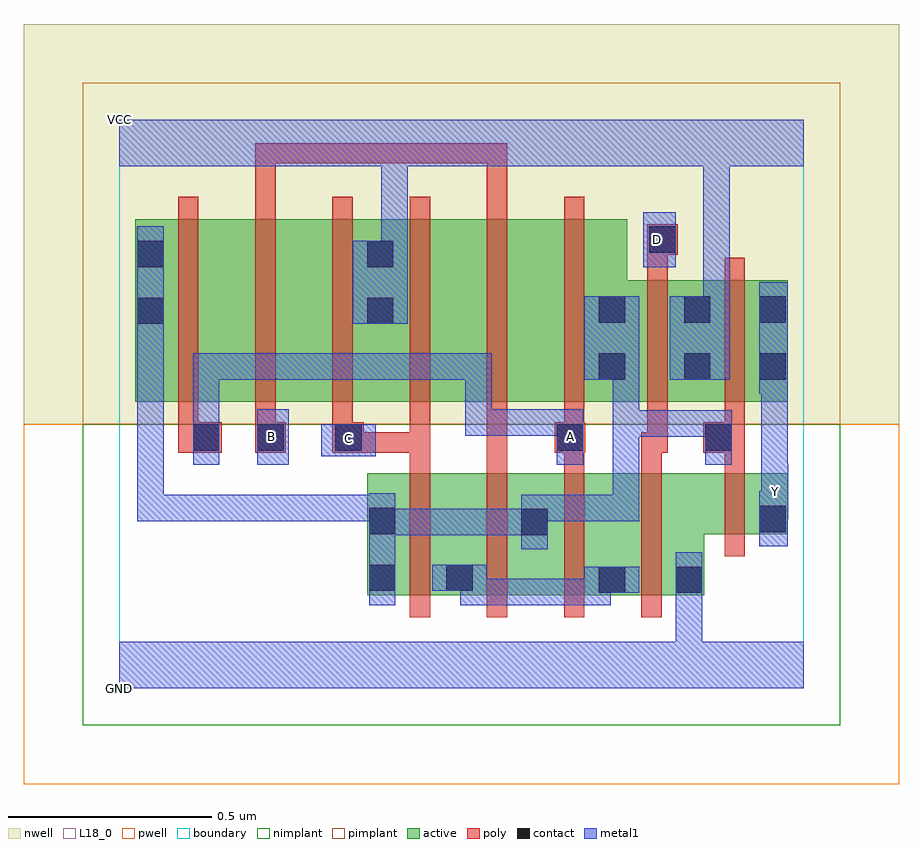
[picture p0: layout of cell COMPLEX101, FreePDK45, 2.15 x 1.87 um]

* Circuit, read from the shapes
.subckt COMPLEX101 A B C D GND VCC Y
M1 n1 C n2 VSUBS nfet w=0.3u l=0.05u
M2 n2 B n1 VSUBS nfet w=0.3u l=0.05u
M3 n1 A n2 VSUBS nfet w=0.3u l=0.05u
M4 GND D n1 VSUBS nfet w=0.3u l=0.05u
M5 Y n2 GND VSUBS nfet w=0.15u l=0.05u
M6 n3 A n2 n4 pfet w=0.45u l=0.05u
M7 n5 B n3 n4 pfet w=0.45u l=0.05u
M8 VCC C n5 n4 pfet w=0.45u l=0.05u
M9 n6 C VCC n4 pfet w=0.45u l=0.05u
M10 n7 B n6 n4 pfet w=0.45u l=0.05u
M11 n2 A n7 n4 pfet w=0.45u l=0.05u
M12 VCC D n2 n4 pfet w=0.3u l=0.05u
M13 Y n2 VCC n4 pfet w=0.3u l=0.05u
.ends

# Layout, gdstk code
import gdstk
lib = gdstk.Library(unit=1e-6, precision=1e-09)
def R(c, l, rs):  # rectangles x0, y0, x1, y1
    for r in rs: c.add(gdstk.rectangle(r[:2], r[2:], *l))
def A(c, l, x, y, w, h, nx, ny, dx, dy):  # array of equal rectangles
    R(c, l, [(x+i*dx, y+j*dy, x+i*dx+w, y+j*dy+h) for i in range(nx) for j in range(ny)])
active = (1, 0)
pwell = (2, 0)
nwell = (3, 0)
nimplant = (4, 0)
pimplant = (5, 0)
poly = (9, 0)
contact = (10, 0)
metal1 = (11, 0)
L18_0 = (18, 0)
boundary = (235, 0)

complex101 = lib.new_cell('COMPLEX101')
R(complex101, active, [(0.61,0.23,0.875,0.53), (0.8,0.23,1.06,0.53), (0.985,0.23,1.25,0.53), (1.175,0.23,1.44,0.53), (1.175,0.23,1.25,0.43), (1.365,0.23,1.44,0.53), (0.61,0.235,0.685,0.53), (0.8,0.235,0.875,0.392), (0.985,0.295,1.06,0.447), (1.365,0.38,1.645,0.53), (1.57,0.38,1.645,0.53), (0.04,0.705,0.265,1.155), (0.04,0.705,0.115,1.155), (0.265,0.705,0.455,1.155), (0.455,0.705,0.68,1.155), (0.605,0.705,0.835,1.155), (0.605,0.705,0.68,1.155), (0.835,0.705,1.025,1.155), (1.025,0.705,1.25,1.155), (1.175,0.705,1.46,1.005), (1.385,0.705,1.46,1.005), (1.385,0.705,1.645,1.005), (1.57,0.705,1.645,1.005), (1.175,0.74,1.25,1.12)])
R(complex101, pwell, [(-0.235,-0.235,1.92,0.65)])
R(complex101, nwell, [(-0.235,0.65,1.92,1.635)])
R(complex101, nimplant, [(-0.09,-0.09,1.775,0.65)])
R(complex101, pimplant, [(-0.09,0.65,1.775,1.49)])
A(complex101, poly, 0.715, 0.175, 0.05, 0.41, 4, 1, 0.19, 0)
A(complex101, poly, 0.715, 0.535, 0.05, 0.095, 4, 1, 0.19, 0)
A(complex101, poly, 0.145, 0.605, 0.05, 0.095, 3, 1, 0.19, 0)
A(complex101, poly, 0.145, 0.65, 0.05, 0.56, 6, 1, 0.19, 0)
R(complex101, poly, [(1.49,0.325,1.54,0.585), (1.49,0.535,1.54,0.63), (0.145,0.58,0.252,0.655), (0.335,0.58,0.41,0.655), (0.525,0.58,0.602,0.655), (0.552,0.58,0.602,0.63), (0.552,0.58,0.602,0.63), (0.552,0.58,0.765,0.63), (0.715,0.58,0.765,0.7), (0.715,0.58,0.765,0.63), (0.905,0.58,0.955,0.7), (0.905,0.58,0.955,0.63), (1.072,0.58,1.147,0.655), (1.285,0.58,1.35,0.63), (1.3,0.58,1.35,0.7), (1.437,0.58,1.54,0.655), (1.095,0.605,1.145,0.7), (1.49,0.605,1.54,0.7), (1.3,0.65,1.35,1.06), (1.49,0.65,1.54,1.06), (1.3,1.01,1.35,1.117), (1.3,1.067,1.375,1.142), (0.335,1.16,0.385,1.342), (0.905,1.16,0.955,1.342), (0.335,1.292,0.385,1.342), (0.335,1.292,0.385,1.342), (0.335,1.292,0.385,1.342), (0.335,1.292,0.602,1.342), (0.552,1.292,0.602,1.342), (0.552,1.292,0.735,1.342), (0.685,1.292,0.735,1.342), (0.685,1.292,0.735,1.342), (0.685,1.292,0.735,1.342), (0.685,1.292,0.955,1.342), (0.905,1.292,0.955,1.342), (0.905,1.292,0.955,1.342), (0.905,1.292,0.955,1.342)])
R(complex101, contact, [(1.18,0.235,1.245,0.3), (1.37,0.235,1.435,0.3), (0.615,0.24,0.68,0.305), (0.805,0.24,0.87,0.305), (0.99,0.377,1.055,0.442), (0.615,0.38,0.68,0.445), (1.575,0.385,1.64,0.45), (0.182,0.585,0.247,0.65), (0.34,0.585,0.405,0.65), (0.532,0.585,0.597,0.65), (1.077,0.585,1.142,0.65), (1.442,0.585,1.507,0.65), (1.18,0.76,1.245,0.825), (1.39,0.76,1.455,0.825), (1.575,0.76,1.64,0.825), (0.045,0.897,0.11,0.962), (0.61,0.897,0.675,0.962), (1.18,0.9,1.245,0.965), (1.39,0.9,1.455,0.965), (1.575,0.9,1.64,0.965), (0.045,1.037,0.11,1.102), (0.61,1.037,0.675,1.102), (1.305,1.072,1.37,1.137)])
R(complex101, metal1, [(0,0,1.685,0.115), (1.37,0.05,1.435,0.115), (1.37,0.05,1.435,0.115), (1.37,0.05,1.435,0.265), (1.37,0.2,1.435,0.265), (1.37,0.2,1.435,0.265), (1.37,0.2,1.435,0.335), (0.615,0.205,0.68,0.48), (0.84,0.205,1.072,0.27), (0.84,0.205,0.905,0.305), (1.007,0.205,1.072,0.27), (1.007,0.205,1.21,0.27), (1.145,0.205,1.21,0.3), (1.145,0.235,1.21,0.3), (1.145,0.235,1.28,0.3), (0.77,0.24,0.905,0.305), (0.84,0.24,0.905,0.305), (0.99,0.342,1.055,0.477), (1.575,0.35,1.645,0.485), (0.615,0.377,0.767,0.442), (0.702,0.377,0.767,0.442), (0.702,0.377,0.917,0.442), (0.852,0.377,0.917,0.442), (0.852,0.377,0.917,0.442), (0.852,0.377,0.917,0.442), (0.852,0.377,1.055,0.442), (0.045,0.412,0.11,0.477), (0.045,0.412,0.11,0.477), (0.045,0.412,0.11,0.477), (0.045,0.412,0.11,0.477), (0.045,0.412,0.11,0.477), (0.045,0.412,0.282,0.477), (0.045,0.412,0.11,0.927), (0.217,0.412,0.282,0.477), (0.217,0.412,0.385,0.477), (0.32,0.412,0.385,0.477), (0.32,0.412,0.492,0.477), (0.427,0.412,0.492,0.477), (0.427,0.412,0.63,0.477), (0.565,0.412,0.63,0.477), (0.565,0.412,0.68,0.477), (0.99,0.412,1.055,0.477), (0.99,0.412,1.055,0.477), (0.99,0.412,1.28,0.477), (1.215,0.412,1.28,0.477), (1.215,0.412,1.28,0.685), (1.58,0.417,1.647,0.552), (1.58,0.42,1.645,0.485), (1.58,0.487,1.645,0.79), (0.182,0.55,0.247,0.685), (0.34,0.55,0.417,0.687), (1.077,0.55,1.142,0.687), (1.442,0.55,1.507,0.685), (0.497,0.572,0.632,0.65), (0.182,0.62,0.247,0.685), (0.182,0.62,0.247,0.685), (0.182,0.62,0.247,0.825), (1.215,0.62,1.28,0.685), (1.215,0.62,1.347,0.685), (1.215,0.62,1.28,0.825), (1.282,0.62,1.347,0.685), (1.282,0.62,1.417,0.685), (1.352,0.62,1.417,0.685), (1.352,0.62,1.507,0.685), (0.852,0.622,0.917,0.687), (0.852,0.622,0.917,0.687), (0.852,0.622,0.917,0.687), (0.852,0.622,1.072,0.687), (0.852,0.622,0.917,0.825), (1.007,0.622,1.072,0.687), (1.007,0.622,1.142,0.687), (1.575,0.725,1.645,1), (0.182,0.76,0.247,0.825), (0.182,0.76,0.425,0.825), (0.36,0.76,0.425,0.825), (0.36,0.76,0.425,0.825), (0.36,0.76,0.425,0.825), (0.36,0.76,0.63,0.825), (0.565,0.76,0.63,0.825), (0.565,0.76,0.63,0.825), (0.565,0.76,0.63,0.825), (0.565,0.76,0.767,0.825), (0.702,0.76,0.767,0.825), (0.702,0.76,0.917,0.825), (0.852,0.76,0.917,0.825), (1.145,0.76,1.28,0.965), (1.355,0.76,1.502,0.965), (0.045,0.862,0.11,1.137), (0.575,0.897,0.71,1.102), (1.437,0.9,1.502,1.35), (0.645,1.037,0.71,1.102), (0.645,1.037,0.71,1.102), (0.645,1.037,0.71,1.35), (1.29,1.037,1.37,1.172), (0,1.285,1.685,1.4), (1.437,1.285,1.502,1.35), (1.437,1.285,1.502,1.35), (1.437,1.285,1.502,1.35), (1.437,1.285,1.502,1.35)])
R(complex101, L18_0, [(0,0,1.685,0.115), (1.37,0.05,1.435,0.115), (1.37,0.05,1.435,0.115), (1.37,0.05,1.435,0.265), (1.37,0.2,1.435,0.335), (1.37,0.2,1.435,0.265), (1.37,0.2,1.435,0.265), (1.575,0.35,1.645,0.485), (1.58,0.417,1.647,0.552), (1.58,0.42,1.645,0.485), (1.582,0.452,1.647,0.517), (1.58,0.487,1.645,0.79), (0.182,0.55,0.247,0.685), (0.34,0.55,0.417,0.687), (1.077,0.55,1.142,0.687), (0.497,0.572,0.632,0.65), (0.532,0.582,0.597,0.647), (0.342,0.587,0.407,0.652), (1.077,0.587,1.142,0.652), (0.182,0.62,0.247,0.685), (0.182,0.62,0.247,0.685), (0.182,0.62,0.247,0.825), (0.852,0.622,0.917,0.687), (0.852,0.622,0.917,0.687), (0.852,0.622,0.917,0.687), (0.852,0.622,0.917,0.825), (0.852,0.622,1.072,0.687), (1.007,0.622,1.072,0.687), (1.007,0.622,1.142,0.687), (1.575,0.725,1.645,1), (0.182,0.76,0.247,0.825), (0.182,0.76,0.425,0.825), (0.36,0.76,0.425,0.825), (0.36,0.76,0.425,0.825), (0.36,0.76,0.425,0.825), (0.36,0.76,0.63,0.825), (0.565,0.76,0.63,0.825), (0.565,0.76,0.63,0.825), (0.565,0.76,0.63,0.825), (0.565,0.76,0.767,0.825), (0.702,0.76,0.767,0.825), (0.702,0.76,0.917,0.825), (0.852,0.76,0.917,0.825), (1.355,0.76,1.502,0.965), (0.575,0.897,0.71,1.102), (1.437,0.9,1.502,1.35), (0.645,1.037,0.71,1.102), (0.645,1.037,0.71,1.102), (0.645,1.037,0.71,1.35), (1.29,1.037,1.37,1.172), (1.292,1.072,1.357,1.137), (0,1.285,1.685,1.4), (1.437,1.285,1.502,1.35), (1.437,1.285,1.502,1.35), (1.437,1.285,1.502,1.35), (1.437,1.285,1.502,1.35)])
R(complex101, boundary, [(0,0,1.685,1.4)])
complex101.add(gdstk.Label('A', (1.11,0.62), layer=11, texttype=0))
complex101.add(gdstk.Label('B', (0.375,0.62), layer=11, texttype=0))
complex101.add(gdstk.Label('C', (0.565,0.615), layer=11, texttype=0))
complex101.add(gdstk.Label('D', (1.325,1.105), layer=11, texttype=0))
complex101.add(gdstk.Label('Y', (1.615,0.485), layer=11, texttype=0))
complex101.add(gdstk.Label('VCC', (0,1.4), layer=11, texttype=0))
complex101.add(gdstk.Label('GND', (0,0), layer=11, texttype=0))

lib.write_gds('COMPLEX101.gds')
